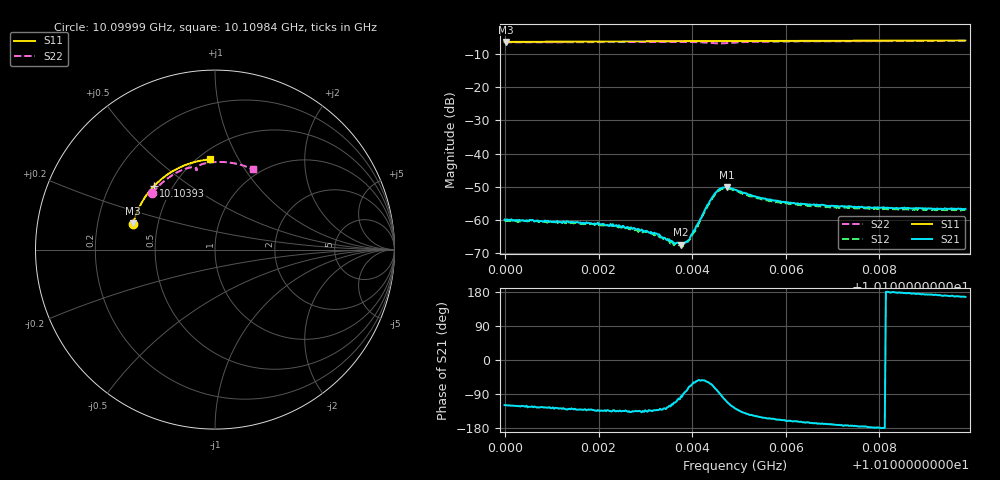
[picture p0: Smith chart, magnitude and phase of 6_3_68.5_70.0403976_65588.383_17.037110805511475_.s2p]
#  HZ  S  RI  R  50.00
! Rohde & Schwarz Vector Network Analyzer
! Rohde-Schwarz,ZNB20-2Port,1311601062101988,3.16
! Created: UTC 3/20/2024, 5:03:59 PM
! freq[Hz]  re:S11  im:S11  re:S21  im:S21  re:S12  im:S12  re:S22  im:S22
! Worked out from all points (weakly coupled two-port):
!   401 points, 10.09999 GHz to 10.10984 GHz, reference 50 ohm
!   highest |S21| = -50.09 dB at 10.10474 GHz (marker M1); lowest = -67.4 dB at 10.10376 GHz (marker M2)
!   lowest |S11| = -6.4 dB at 10.10002 GHz (marker M3), VSWR 2.83, Z = 18 + j6.85 ohm
!   |S11| at or under -10 dB: nowhere
!   |S22| runs from -6.9 to -6.1 dB; largest |S21 - S12| = 0.00032
!   S11 on the Smith chart (normalised r, x): 10.09999 GHz: 0.36, +0.14; 10.10393 GHz: 0.39, +0.37; 10.10984 GHz: 0.57, +0.77
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1.0099992e10  -0.4558 0.145  -0.000492 -0.00089  -0.00041 -0.000865  -0.3502 0.3148
1.0100017e10  -0.4552 0.1465  -0.00048 -0.000859  -0.000417 -0.000874  -0.3493 0.3159
1.0100657e10  -0.4439 0.1838  -0.000546 -0.000812  -0.000516 -0.000817  -0.3218 0.3469
1.0101642e10  -0.4206 0.2392  -0.000579 -0.000666  -0.00053 -0.000693  -0.2741 0.3892
1.0102331e10  -0.4002 0.2757  -0.000551 -0.000603  -0.000522 -0.000626  -0.2372 0.4151
1.0103046e10  -0.3758 0.3117  -0.00049 -0.000466  -0.000416 -0.000543  -0.1957 0.4378
1.0103292e10  -0.3667 0.3234  -0.000403 -0.000461  -0.000327 -0.000456  -0.1804 0.4447
1.0103587e10  -0.3552 0.3372  -0.000218 -0.000415  -0.000162 -0.000417  -0.1611 0.4519
1.010376e10  -0.3482 0.345  -4.46e-05 -0.000424  9.36e-07 -0.000426  -0.1491 0.4554
1.0103858e10  -0.3442 0.3494  5.39e-05 -0.000465  9.01e-05 -0.000445  -0.142 0.4568
1.0103932e10  -0.3411 0.3528  0.000171 -0.000488  0.000191 -0.00046  -0.1365 0.4576
1.010408e10  -0.3349 0.3591  0.000428 -0.000654  0.000427 -0.000564  -0.1249 0.4584
1.0104277e10  -0.3265 0.3675  0.00083 -0.00117  0.00089 -0.00107  -0.1095 0.4555
1.0104449e10  -0.3189 0.3747  0.000818 -0.00213  0.000998 -0.00197  -0.1009 0.4475
1.0104597e10  -0.3123 0.3807  2.36e-05 -0.00297  0.000264 -0.00282  -0.1025 0.4422
1.0104745e10  -0.3057 0.3865  -0.00108 -0.00294  -0.000784 -0.00287  -0.106 0.4472
1.0104917e10  -0.2978 0.3932  -0.00176 -0.00227  -0.0015 -0.00234  -0.1013 0.4583
1.0105336e10  -0.2778 0.409  -0.00193 -0.00122  -0.00171 -0.00132  -0.0747 0.475
1.010573e10  -0.2582 0.4227  -0.0018 -0.000851  -0.00166 -0.000936  -0.0476 0.4824
1.0106567e10  -0.2146 0.4486  -0.00165 -0.000401  -0.00155 -0.000534  0.00803 0.4884
1.0108217e10  -0.1222 0.4855  -0.00153 2.72e-05  -0.00146 -0.000141  0.1141 0.4793
1.0109842e10  -0.0256 0.5026  -0.00143 0.000341  -0.00141 0.000172  0.2125 0.4477
